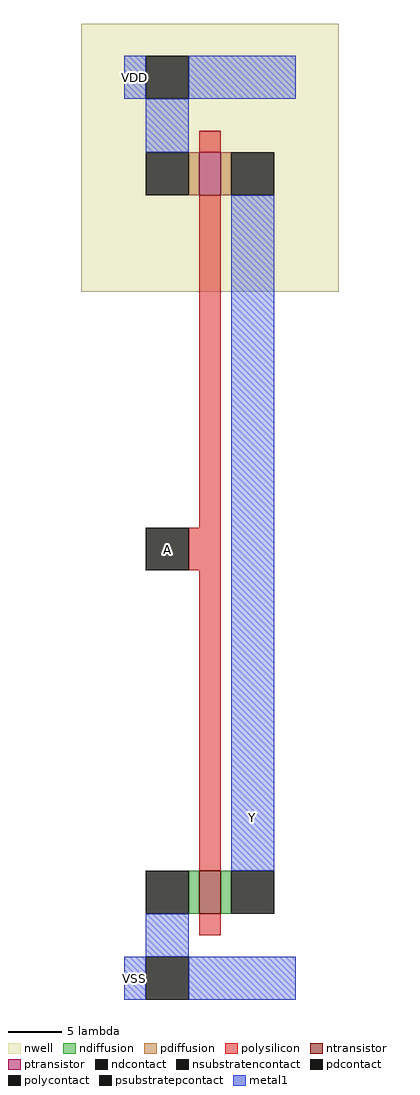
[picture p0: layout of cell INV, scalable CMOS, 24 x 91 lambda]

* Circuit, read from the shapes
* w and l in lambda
.subckt INV A VDD VSS Y
M1 Y A VSS VSS nfet w=4 l=2
M2 Y A VDD VDD pfet w=4 l=2
.ends

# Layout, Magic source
magic
tech scmos
<< nwell >>
rect -4 66 20 91
<< ntransistor >>
rect 7 8 9 12
<< ptransistor >>
rect 7 75 9 79
<< ndiffusion >>
rect 6 8 7 12
rect 9 8 10 12
<< pdiffusion >>
rect 6 75 7 79
rect 9 75 10 79
<< ndcontact >>
rect 2 8 6 12
rect 10 8 14 12
<< pdcontact >>
rect 2 75 6 79
rect 10 75 14 79
<< psubstratepcontact >>
rect 2 0 6 4
<< nsubstratencontact >>
rect 2 84 6 88
<< polysilicon >>
rect 7 79 9 81
rect 7 44 9 75
rect 6 40 9 44
rect 7 12 9 40
rect 7 6 9 8
<< polycontact >>
rect 2 40 6 44
<< metal1 >>
rect 0 84 2 88
rect 6 84 16 88
rect 2 79 6 84
rect 10 12 14 75
rect 2 4 6 8
rect 0 0 2 4
rect 6 0 16 4
<< labels >>
rlabel metal1 1 2 1 2 2 VSS
rlabel metal1 12 17 12 17 1 Y
rlabel metal1 1 86 1 86 4 VDD
rlabel polycontact 4 42 4 42 1 A
<< end >>
